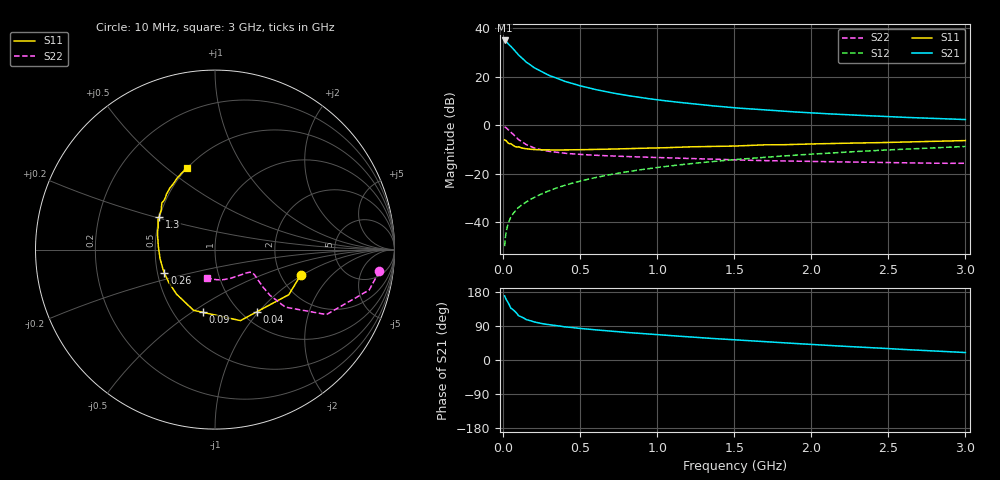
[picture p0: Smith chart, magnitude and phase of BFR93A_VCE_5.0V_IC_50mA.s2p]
! Infineon Technologies  Discrete & RF Semiconductors
! BFR93A
! VCE =  5.0 V,  IC =  50 mA
! Common Emitter S-Parameters:  Nov 2015
# GHz  S  MA  R  50
!  f  S11  S21  S12  S22
! GHz  MAG  ANG  MAG  ANG  MAG  ANG  MAG  ANG
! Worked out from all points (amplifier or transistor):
!   180 points, 10 MHz to 3 GHz, reference 50 ohm
!   highest |S21| = 35.0 dB at 10 MHz (marker M1)
!   |S21| within 3 dB of that: start of sweep to 59.08 MHz
!   unconditionally stable (mu >= 1): 268.1 MHz to 2.768 GHz
!   at 160 MHz: K = 0.87, MSG = 28.5 dB, |S12| = -31.3 dB
!   at 1.22 GHz: K = 1.08, MAG = 10.6 dB, |S12| = -15.8 dB
!   at 3 GHz: K = 0.98, MSG = 5.6 dB, |S12| = -8.8 dB
!   S11 on the Smith chart (normalised r, x): 10 MHz: 2.58, -0.96; 40 MHz: 1.16, -0.98; 90 MHz: 0.69, -0.55; 260 MHz: 0.54, -0.16; 1.3 GHz: 0.50, +0.21; 3 GHz: 0.50, +0.59
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0.01  0.4986 -16.2  56.04 169.3  0.0032 82.9  0.924 -7.5
0.02  0.4818 -31.4  53.61 159.7  0.0064 76.9  0.8879 -14.7
0.04  0.4175 -56.3  45.4 145.7  0.0106 69.7  0.7687 -24.3
0.05  0.4202 -70.3  42.59 136.9  0.0128 67.9  0.7192 -30.2
0.09  0.3561 -100.9  30.55 122.4  0.0186 65.7  0.5471 -36.9
0.1  0.3587 -109.5  28.01 116.9  0.0201 65.4  0.5058 -39.3
0.15  0.3279 -131.0  20.07 106.7  0.026 66.7  0.3981 -39.7
0.2  0.316 -144.6  15.51 100.6  0.0321 69.0  0.3419 -38.1
0.24  0.3115 -152.0  13.19 97.2  0.0371 70.0  0.3152 -36.7
0.26  0.3106 -155.1  12.21 95.5  0.0396 70.5  0.3045 -36.0
0.3  0.3094 -159.9  10.6 92.9  0.0446 71.5  0.2882 -34.7
0.4  0.3102 -170.6  8.038 87.5  0.0575 72.6  0.2632 -32.7
0.52  0.3133 -179.6  6.28 82.6  0.0729 72.6  0.2479 -32.0
0.6  0.3173 175.8  5.449 79.5  0.0833 72.4  0.2396 -32.1
0.7  0.3215 171.2  4.693 76.0  0.0964 71.7  0.2325 -32.9
0.86  0.3324 164.4  3.864 71.1  0.1166 70.5  0.2225 -35.1
1.02  0.341 158.2  3.285 66.3  0.1368 68.8  0.2151 -37.9
1.3  0.3621 149.4  2.62 58.3  0.171 65.6  0.2019 -44.4
1.52  0.3739 143.1  2.266 52.6  0.1973 63.0  0.1921 -50.2
2.02  0.4122 130.6  1.782 40.7  0.2553 57.1  0.1785 -65.9
2.52  0.4438 119.5  1.495 29.7  0.3117 50.8  0.1694 -84.0
3  0.4822 108.9  1.31 19.7  0.3646 44.7  0.1642 -106.2
